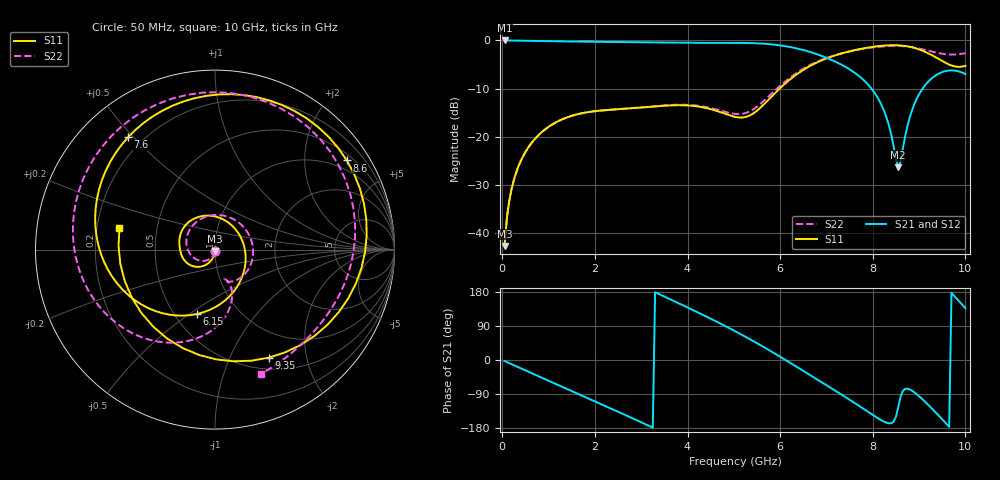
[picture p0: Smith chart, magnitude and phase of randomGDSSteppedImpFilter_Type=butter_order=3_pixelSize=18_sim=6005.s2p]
! freq	dB(S11)	phase(S11)	dB(S12)	phase(S12)
!  dB(S21)	phase(S21)	dB(S22)	phase(S22)
!S-par simulation data
#  GHz  S  DB  R 50
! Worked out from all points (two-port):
!   200 points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, 50 MHz to 10 GHz, reference 50 ohm
!   highest |S21| = 0.00 dB at 50 MHz (marker M1); lowest = -26.3 dB at 8.55 GHz (marker M2)
!   |S21| within 3 dB of the highest: start of sweep to 6.839 GHz
!   lowest |S11| = -42.6 dB at 50 MHz (marker M3), VSWR 1.01, Z = 50 - j0.741 ohm
!   |S11| at or under -10 dB: start of sweep to 5.986 GHz
!   |S22| runs from -42.6 to -1.1 dB; largest |S21 - S12| = 0
!   S11 on the Smith chart (normalised r, x): 50 MHz: 1.00, -0.01; 6.15 GHz: 0.64, -0.54; 7.6 GHz: 0.14, +0.48; 8.6 GHz: 0.67, +3.13; 9.35 GHz: 0.64, -1.41; 10 GHz: 0.30, +0.10
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0.05  -42.60 -90.3  -0.00 -2.8  -0.00 -2.8  -42.63 -91.6
0.2  -30.79 -98.0  -0.02 -11.1  -0.02 -11.1  -30.82 -103.2
0.5  -23.10 -111.2  -0.06 -27.5  -0.06 -27.5  -23.14 -124.4
1.15  -17.01 -137.2  -0.16 -62.8  -0.16 -62.8  -17.03 -169.9
1.75  -15.02 -157.8  -0.25 -95.3  -0.25 -95.3  -15.03 145.5
2.65  -14.17 178.8  -0.35 -144.8  -0.35 -144.8  -14.15 70.4
3.4  -13.60 159.1  -0.44 173.1  -0.44 173.1  -13.53 6.4
4.35  -13.90 113.7  -0.51 118.0  -0.51 118.0  -13.71 -56.6
5.05  -15.88 44.3  -0.50 74.6  -0.50 74.6  -15.24 -73.2
5.65  -13.23 -47.3  -0.68 33.9  -0.68 33.9  -12.50 -67.3
6.15  -8.58 -105.6  -1.25 -2.5  -1.25 -2.5  -8.18 -83.1
6.7  -5.01 -156.7  -2.55 -43.8  -2.55 -43.8  -4.82 -115.3
7.15  -3.21 165.2  -4.21 -77.9  -4.21 -77.9  -3.14 -146.7
7.6  -2.03 127.8  -6.64 -112.8  -6.64 -112.8  -2.07 178.2
8  -1.33 93.2  -10.33 -144.8  -10.33 -144.8  -1.46 142.3
8.35  -1.01 60.1  -17.64 -167.2  -17.64 -167.2  -1.16 105.9
8.55  -1.01 39.5  -26.26 -124.8  -26.26 -124.8  -1.15 82.8
8.6  -1.04 34.0  -25.10 -96.9  -25.10 -96.9  -1.17 76.9
8.95  -1.70 -7.1  -12.09 -90.3  -12.09 -90.3  -1.58 34.1
9.35  -3.45 -63.6  -7.30 -137.3  -7.30 -137.3  -2.48 -11.5
9.65  -4.99 -118.1  -6.23 -176.4  -6.23 -176.4  -2.91 -39.9
10  -5.26 167.3  -6.98 136.9  -6.98 136.9  -2.64 -69.6
